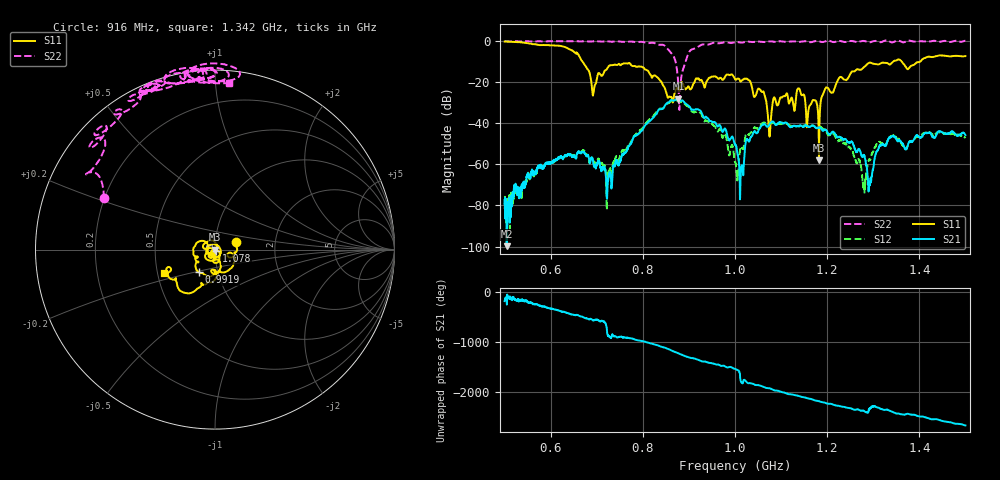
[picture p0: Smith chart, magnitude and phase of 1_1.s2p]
!Agilent Technologies,E8364B,US42250235,A.06.04.32
!Agilent E8364B: A.06.04.32
!Date: Thursday, October 01, 2020 15:52:10
!Correction: S11(Full 2 Port(1,2)) S21(Full 2 Port(1,2)) S12(Full 2 Port(1,2)) S22(Full 2 Port(1,2))
!S2P File: Measurements: S11, S21, S12, S22:
# Hz S  dB  R 50
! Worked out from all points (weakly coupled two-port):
!   2650 points, 500 MHz to 1.5 GHz, reference 50 ohm
!   highest |S21| = -28.10 dB at 877.1 MHz (marker M1); lowest = -99.8 dB at 504.5 MHz (marker M2)
!   lowest |S11| = -58.0 dB at 1.182 GHz (marker M3), VSWR 1.00, Z = 49.9 - j0.0439 ohm
!   |S11| at or under -10 dB: 669.2 MHz to 1.343 GHz (673.5 MHz wide, 67 % of centre); 1.362 GHz to 1.402 GHz (39.91 MHz wide, 2.89 % of centre)
!   |S22| runs from -33.5 to 0.3 dB; largest |S21 - S12| = 0.012
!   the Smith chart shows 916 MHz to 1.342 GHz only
!   S11 on the Smith chart (normalised r, x): 916 MHz: 1.26, +0.11; 991.9 MHz: 0.81, -0.21; 1.078 GHz: 1.01, -0.02; 1.342 GHz: 0.54, -0.16
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5e8  -0.20 -175.3  -77.42 -177.6  -81.68 -92.0  -0.00 143.3
5.0453e8  -0.22 -177.8  -99.84 -77.8  -78.26 -119.6  -0.04 144.3
6.200453e8  -2.29 105.8  -56.37 -14.0  -56.53 -10.0  -0.04 129.9
6.668554e8  -9.33 44.5  -54.40 -126.8  -53.97 -123.8  -0.07 125.3
6.932805e8  -24.17 93.9  -59.91 154.1  -59.13 172.0  -0.08 120.8
7.257456e8  -12.25 105.8  -65.36 -162.8  -63.20 -172.2  -0.15 118.9
8.337108e8  -18.07 -71.7  -33.58 12.9  -33.36 -6.2  -1.76 83.8
8.771234e8  -23.82 103.0  -28.10 -145.4  -28.80 -160.5  -21.66 21.5
9.16006e8  -18.13 19.7  -33.23 100.1  -34.40 86.0  -3.31 155.1
9.918837e8  -16.19 -125.7  -47.03 -60.2  -51.12 -58.9  -0.91 129.7
1.000189e9  -18.64 -145.4  -50.43 -92.0  -59.17 -108.0  -0.53 123.9
1.014156e9  -19.30 -155.2  -60.62 -8.3  -51.35 20.4  -0.76 121.9
1.026614e9  -18.39 176.5  -47.74 -12.4  -45.04 -11.4  -0.22 118.0
1.077576e9  -38.86 -60.4  -39.75 -132.2  -39.77 -146.9  -0.10 113.1
1.108909e9  -26.75 -107.6  -39.63 143.3  -40.13 140.0  -0.33 114.1
1.166667e9  -29.90 -101.8  -41.11 16.9  -41.17 6.4  -0.47 102.7
1.182144e9  -57.96 -159.6  -42.11 -23.6  -42.20 -31.7  -0.12 106.8
1.280294e9  -12.63 -113.6  -55.71 139.5  -71.75 32.9  0.06 97.5
1.292752e9  -10.46 -129.3  -68.64 -171.9  -57.56 -93.0  -0.60 90.2
1.333522e9  -11.17 -159.5  -47.35 156.2  -47.46 151.0  0.01 98.6
1.342205e9  -10.12 -155.3  -46.12 121.8  -46.09 115.7  -0.61 85.1
1.5e9  -7.30 138.1  -45.72 -148.2  -47.19 -152.6  0.23 71.4
